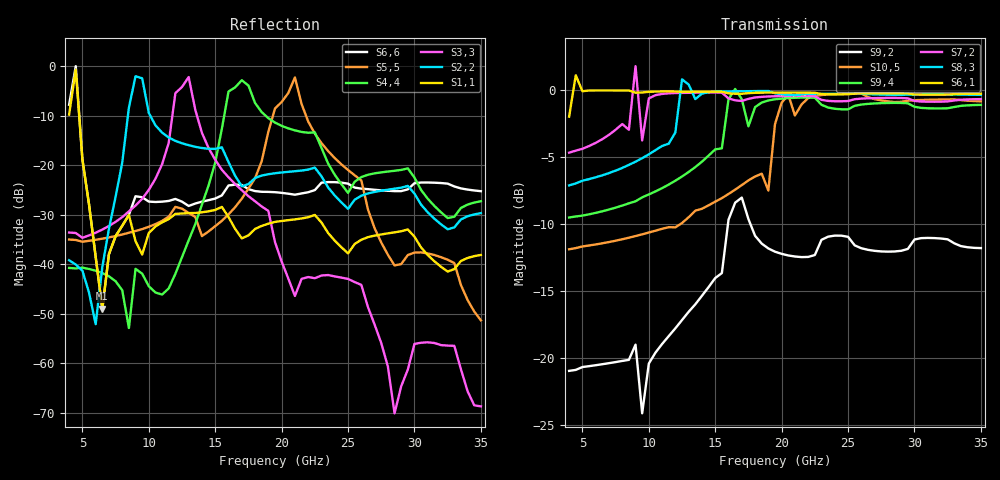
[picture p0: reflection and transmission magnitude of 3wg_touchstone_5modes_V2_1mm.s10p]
! S-parameter export from POSTFEKO
! Filename: circular_3wg_5modes_V2
! Creation date: 2020-01-10 13:08:08
# Hz S MA R  5.0000000E+01
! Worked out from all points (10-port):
!   63 points, 4 GHz to 35 GHz, reference 50 ohm
!   strongest paths, dB at 4 GHz, 11.5 GHz, 19.5 GHz, 27.5 GHz, 35 GHz:
!     S6,1: -2.0, -0.1, -0.2, -0.2, -0.2
!     S8,3: -7.1, -4.0, -0.2, -0.3, -0.3
!     S7,2: -4.6, -0.2, -0.4, -0.6, -0.6
!     S9,4: -9.5, -7.0, -0.7, -0.9, -1.1
!     S10,5: -11.9, -10.2, -2.5, -0.7, -0.8
!     S9,2: -20.9, -18.3, -12.0, -12.0, -11.8
!   lowest |S11| = -49.0 dB at 6.5 GHz (marker M1), VSWR 1.01, Z = 50.4 - j0.046 ohm
!   |S11| at or under -10 dB: 4.756 GHz to end of sweep
